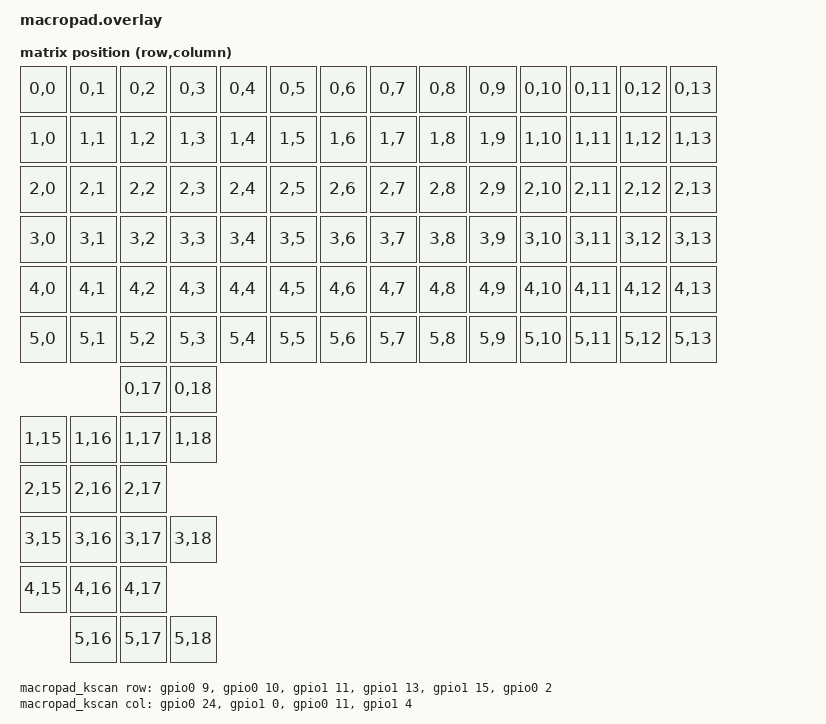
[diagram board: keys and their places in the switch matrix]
#include <dt-bindings/zmk/matrix_transform.h>

/ {
    chosen {
        zmk,kscan = &macropad_kscan;
        zmk,matrix-transform = &macropad_transform;
    };

    macropad_kscan: kscan {
        compatible = "zmk,kscan-gpio-matrix";
        label = "macropad_kscan";
        diode-direction = "col2row";

        row-gpios
            = <&gpio0  9 (GPIO_ACTIVE_HIGH | GPIO_PULL_DOWN)>   // R0
            , <&gpio0 10 (GPIO_ACTIVE_HIGH | GPIO_PULL_DOWN)>   // R1
            , <&gpio1 11 (GPIO_ACTIVE_HIGH | GPIO_PULL_DOWN)>   // R2
            , <&gpio1 13 (GPIO_ACTIVE_HIGH | GPIO_PULL_DOWN)>   // R3
            , <&gpio1 15 (GPIO_ACTIVE_HIGH | GPIO_PULL_DOWN)>   // R4
            , <&gpio0  2 (GPIO_ACTIVE_HIGH | GPIO_PULL_DOWN)>   // R5
            ;

        col-gpios
            = <&gpio0 24 GPIO_ACTIVE_HIGH>   // C0
            , <&gpio1  0 GPIO_ACTIVE_HIGH>   // C1
            , <&gpio0 11 GPIO_ACTIVE_HIGH>   // C2
            , <&gpio1  4 GPIO_ACTIVE_HIGH>   // C3
            ;
    };

    macropad_transform: matrix_transform {
        compatible = "zmk,matrix-transform";
        rows = <6>;
        columns = <19>; // 15 central cols + 4 macropad cols
        col-offset = <15>; // shifts physical cols 0-3 to global cols 15-18
        map = <
            // ── Positions 0–83: padding (cols 0–13, never reached with col-offset=15) ──
            RC(0, 0) RC(0, 1) RC(0, 2) RC(0, 3) RC(0, 4) RC(0, 5) RC(0, 6) RC(0, 7) RC(0, 8) RC(0, 9) RC(0,10) RC(0,11) RC(0,12) RC(0,13)
            RC(1, 0) RC(1, 1) RC(1, 2) RC(1, 3) RC(1, 4) RC(1, 5) RC(1, 6) RC(1, 7) RC(1, 8) RC(1, 9) RC(1,10) RC(1,11) RC(1,12) RC(1,13)
            RC(2, 0) RC(2, 1) RC(2, 2) RC(2, 3) RC(2, 4) RC(2, 5) RC(2, 6) RC(2, 7) RC(2, 8) RC(2, 9) RC(2,10) RC(2,11) RC(2,12) RC(2,13)
            RC(3, 0) RC(3, 1) RC(3, 2) RC(3, 3) RC(3, 4) RC(3, 5) RC(3, 6) RC(3, 7) RC(3, 8) RC(3, 9) RC(3,10) RC(3,11) RC(3,12) RC(3,13)
            RC(4, 0) RC(4, 1) RC(4, 2) RC(4, 3) RC(4, 4) RC(4, 5) RC(4, 6) RC(4, 7) RC(4, 8) RC(4, 9) RC(4,10) RC(4,11) RC(4,12) RC(4,13)
            RC(5, 0) RC(5, 1) RC(5, 2) RC(5, 3) RC(5, 4) RC(5, 5) RC(5, 6) RC(5, 7) RC(5, 8) RC(5, 9) RC(5,10) RC(5,11) RC(5,12) RC(5,13)
            // ── Positions 84–102: macropad keys ──────────────────────────────────────────
            //    physical col + offset 15 = global col (e.g. physical C2 → global col 17)
                               RC(0,17) RC(0,18)
            RC(1,15) RC(1,16) RC(1,17) RC(1,18)
            RC(2,15) RC(2,16) RC(2,17)
            RC(3,15) RC(3,16) RC(3,17) RC(3,18)
            RC(4,15) RC(4,16) RC(4,17)
                     RC(5,16) RC(5,17) RC(5,18)
        >;
    };
};
